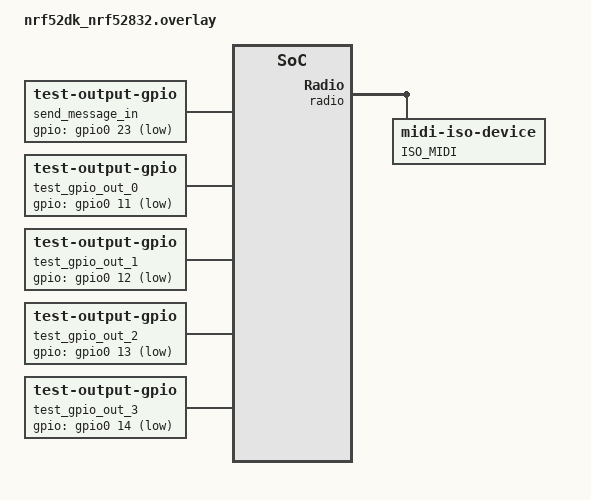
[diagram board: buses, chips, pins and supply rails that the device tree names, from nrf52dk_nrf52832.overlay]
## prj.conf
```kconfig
# Enable the UART driver
CONFIG_UART_ASYNC_API=y
CONFIG_NRFX_UARTE0=y

CONFIG_HEAP_MEM_POOL_SIZE=2048

# Enable the BLE stack
CONFIG_BT=y

CONFIG_BT_ISO_BROADCASTER=y
CONFIG_LOG=y
CONFIG_BT_DEVICE_NAME="Test ISO Broadcaster"

CONFIG_BT_ISO_MAX_CHAN=1
CONFIG_BT_ISO_TX_BUF_COUNT=2

CONFIG_BT_ISO_TX_MTU=96
CONFIG_BT_CTLR_ADV_ISO=y
CONFIG_BT_CTLR_ADV_ISO_PDU_LEN_MAX=96
CONFIG_BT_CTLR_ADV_ISO_STREAM_MAX=1

CONFIG_BT_CTLR_ISOAL_SOURCES=1

CONFIG_BT_CTLR_ADV_DATA_LEN_MAX=96

# FIXME: Host needs CONFIG_BT_ISO_TX_MTU + 4 bytes for sequence number, and
# optionally additional + 4 bytes for timestamp when not using
# BT_ISO_TIMESTAMP_NONE in bt_iso_chan_send(), otherwise Host tries to fragment
# ISO data.
# When Host is fixed, CONFIG_BT_CTLR_ISO_TX_BUFFER_SIZE can inherit the
# CONFIG_BT_ISO_TX_MTU value.
CONFIG_BT_CTLR_ISO_TX_BUFFER_SIZE=100
# CONFIG_BT_CTLR_ISOAL_SN_STRICT=n
CONFIG_BT_LL_SW_SPLIT=y


# Enable DK LED and Buttons library
CONFIG_DK_LIBRARY=y

# This example requires more workqueue stack
CONFIG_SYSTEM_WORKQUEUE_STACK_SIZE=4096

# Config logger
CONFIG_LOG=y
CONFIG_USE_SEGGER_RTT=y
CONFIG_LOG_BACKEND_RTT=y
CONFIG_LOG_BACKEND_UART=n

CONFIG_MIDI=y
CONFIG_MIDI_ISO_BROADCASTER=y
CONFIG_MIDI_PARSER=y

CONFIG_TEST_GPIO_OUT=y
```

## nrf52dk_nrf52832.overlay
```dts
&radio{
	midi_iso_device {
		compatible = "midi-iso-device";
		label = "ISO_MIDI";
		midi_iso_broadcast_device {
			label = "ISO_MIDI_BROADCASTER";
			compatible = "midi-iso-broadcaster-device";
		};
    };
};

/ {
	send_message_in: send_message_in {
		compatible = "test-output-gpio";
                /* using built-in LED pin for demonstration */
		gpios = <&gpio0 23  (GPIO_PULL_UP | GPIO_ACTIVE_LOW)>;
	};
};

/ {
	test_gpio_out_0: test_gpio_out_0 {
		compatible = "test-output-gpio";
                /* using built-in LED pin for demonstration */
		gpios = <&gpio0 11  (GPIO_PULL_UP | GPIO_ACTIVE_LOW)>;
	};
};

/ {
	test_gpio_out_1: test_gpio_out_1 {
		compatible = "test-output-gpio";
                /* using built-in LED pin for demonstration */
		gpios = <&gpio0 12  (GPIO_PULL_UP | GPIO_ACTIVE_LOW)>;
	};
};

/ {
	test_gpio_out_2: test_gpio_out_2 {
		compatible = "test-output-gpio";
                /* using built-in LED pin for demonstration */
		gpios = <&gpio0 13  (GPIO_PULL_UP | GPIO_ACTIVE_LOW)>;
	};
};

/ {
	test_gpio_out_3: test_gpio_out_3 {
		compatible = "test-output-gpio";
                /* using built-in LED pin for demonstration */
		gpios = <&gpio0 14  (GPIO_PULL_UP | GPIO_ACTIVE_LOW)>;
	};
};
```

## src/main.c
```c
#include <zephyr/types.h>
#include <zephyr/device.h>
#include <soc.h>

#include <dk_buttons_and_leds.h>
#include <zephyr/drivers/gpio.h>
#include <midi/midi.h>
#include <midi/midi_iso.h>
#include <test_gpio_out.h>

#include <zephyr/logging/log.h>

#define LOG_MODULE_NAME midi
LOG_MODULE_REGISTER(LOG_MODULE_NAME);

#define RUN_STATUS_LED DK_LED1
#define CON_STATUS_LED DK_LED2
#define RUN_LED_BLINK_INTERVAL 1000

#if !DT_NODE_EXISTS(DT_NODELABEL(send_message_in))
#error "Overlay for send_message_in node not properly defined."
#endif

static K_SEM_DEFINE(sem_send_msg, 0, 2);

static const struct gpio_dt_spec send_message_in =
	GPIO_DT_SPEC_GET_OR(DT_NODELABEL(send_message_in), gpios, {0});
static struct gpio_callback send_message_in_cb_data;

const struct device *iso_midi_out_dev;

// midi_msg_t *msg;
uint8_t data[] = {0x90, 64, 85};

static int midi_iso_sent(const struct device *dev,
			  midi_msg_t *msg,
			  void *user_data)
{
	// LOG_INF("MIDI ISO sent!");
	
	midi_msg_unref(msg);

	return 0;
}

void send_message_in_cb(const struct device *dev, struct gpio_callback *cb,
		    uint32_t pins)
{
	// int64_t time = k_ticks_to_us_near64(k_uptime_ticks());
	LOG_INF("Send message");
	// int key = irq_lock();
	// k_sem_give(&sem_send_msg);
	midi_msg_t *msg = NULL;
	msg = midi_msg_alloc(msg, 3);
	msg->format = MIDI_FORMAT_1_0_PARSED;
	msg->len = 3;
	memcpy(msg->data, data, 3);
	midi_send(iso_midi_out_dev, msg);
	// irq_unlock(key);
}

const struct device * get_port(const char* name, 
			midi_transfer cb, void *user_data)
{
	int err;
	const struct device * dev;
	dev = device_get_binding(name);

	if (!dev) {
		LOG_ERR("Can not get device: %s", name);
	}

	err = midi_callback_set(dev, cb, user_data);
	if (err != 0) {
		LOG_ERR("Can not set callbacks for device: %s", name);
	}

	return dev;
}


void main(void)
{
	int blink_status = 0;
	int err;
	LOG_INF("Running");

	if (!gpio_is_ready_dt(&send_message_in)) {
		LOG_INF("The send_message_in pin GPIO port is not ready.\n");
		return;
	}

	err = gpio_pin_configure_dt(&send_message_in, GPIO_INPUT);
	if (err != 0) {
		LOG_INF("Configuring GPIO pin failed: %d\n", err);
		return;
	}

	err = gpio_pin_interrupt_configure_dt(&send_message_in,
					      GPIO_INT_EDGE_BOTH);
	if (err != 0) {
		LOG_INF("Error %d: failed to configure interrupt on %s pin %d",
			err, send_message_in.port->name, send_message_in.pin);
		return;
	}

	gpio_init_callback(&send_message_in_cb_data, send_message_in_cb, 
		BIT(send_message_in.pin));
	err = gpio_add_callback(send_message_in.port, &send_message_in_cb_data);
	if (err)
	{
		LOG_INF("gpio add callback failed");
	}

	test_gpio_out_init();

	/*ISO PORTS*/
	iso_midi_out_dev = get_port("ISO_MIDI_BROADCASTER", 
			midi_iso_sent, NULL);

	LOG_INF("ports gotten");

	
	

	err = dk_leds_init();
	if (err) {
		LOG_ERR("Cannot init LEDs (err: %d)", err);
	}

	for (;;) {
		// err = k_sem_take(&sem_send_msg, K_FOREVER);
		// midi_send(iso_midi_out_dev, msg);
		dk_set_led(RUN_STATUS_LED, (++blink_status) % 2);
		k_sleep(K_MSEC(RUN_LED_BLINK_INTERVAL));

	}
}
```
